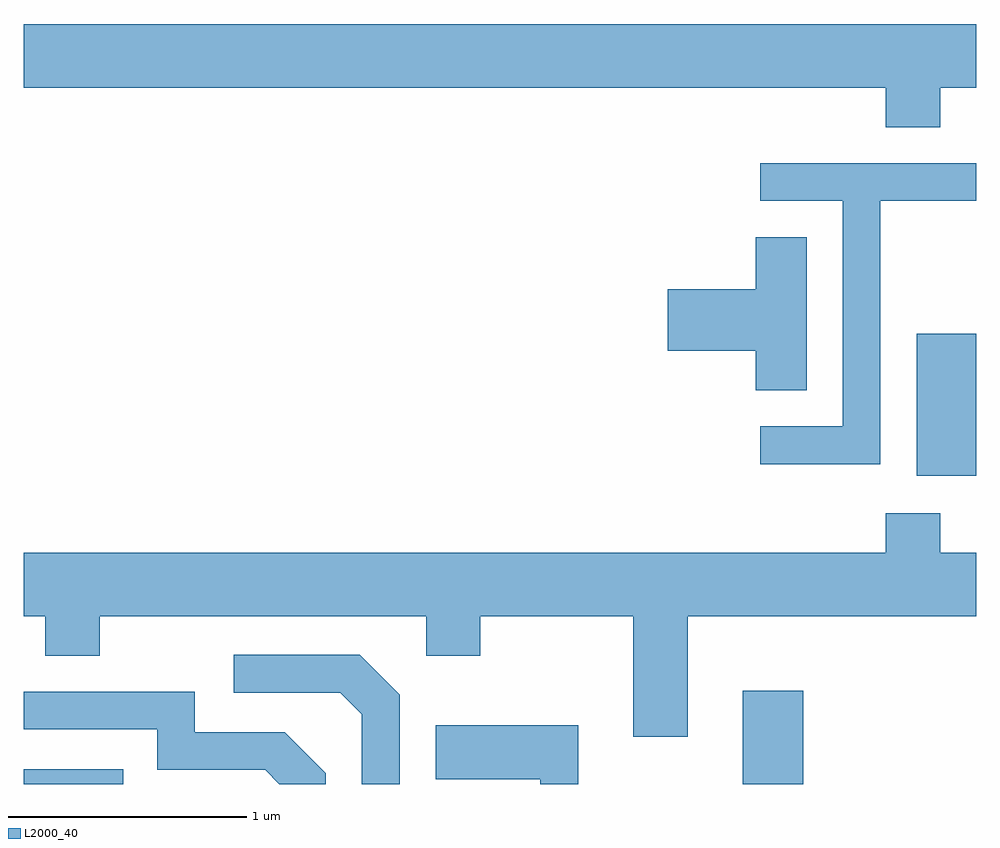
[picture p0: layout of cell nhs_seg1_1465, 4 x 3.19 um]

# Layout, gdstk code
import gdstk
lib = gdstk.Library(unit=1e-6, precision=1e-09)
def R(c, l, rs):  # rectangles x0, y0, x1, y1
    for r in rs: c.add(gdstk.rectangle(r[:2], r[2:], *l))
def P(c, l, *ps):  # polygons
    for p in ps: c.add(gdstk.Polygon(p, *l))
L2000_40 = (2000, 40)

nhs_seg1_1465 = lib.new_cell('nhs_seg1_1465')
R(nhs_seg1_1465, L2000_40, [(229.611,947.712,230.028,947.774), (232.631,947.712,232.884,948.104), (233.361,949.006,233.611,949.604)])
P(nhs_seg1_1465, L2000_40, [(233.459,950.636),(233.611,950.636),(233.611,950.904),(229.611,950.904),(229.611,950.636),(233.231,950.636),(233.231,950.471),(233.459,950.471)],
  [(233.209,950.161),(233.611,950.161),(233.611,950.319),(232.703,950.319),(232.703,950.161),(233.051,950.161),(233.051,949.214),(232.703,949.214),(232.703,949.056),(233.209,949.056)],
  [(232.899,950.009),(232.686,950.009),(232.686,949.789),(232.316,949.789),(232.316,949.531),(232.686,949.531),(232.686,949.366),(232.899,949.366)],
  [(232.399,948.416),(233.611,948.416),(233.611,948.684),(233.459,948.684),(233.459,948.849),(233.231,948.849),(233.231,948.684),(229.611,948.684),(229.611,948.416),(229.701,948.416),(229.701,948.251),(229.929,948.251),(229.929,948.416),(231.301,948.416),(231.301,948.251),(231.529,948.251),(231.529,948.416),(232.171,948.416),(232.171,947.911),(232.399,947.911)],
  [(231.189,948.087),(231.022,948.254),(230.493,948.254),(230.493,948.096),(230.939,948.096),(231.031,948.004),(231.031,947.712),(231.189,947.712)],
  [(230.879,947.757),(230.707,947.929),(230.329,947.929),(230.329,948.099),(229.611,948.099),(229.611,947.941),(230.171,947.941),(230.171,947.771),(230.624,947.771),(230.683,947.712),(230.879,947.712)],
  [(231.939,947.959),(231.341,947.959),(231.341,947.731),(231.781,947.731),(231.781,947.712),(231.939,947.712)])

lib.write_gds('nhs_seg1_1465.gds')
